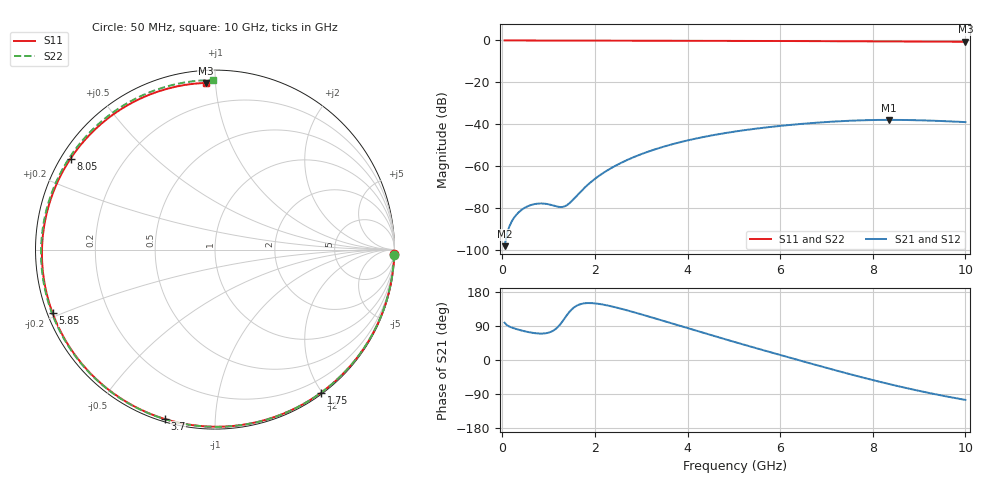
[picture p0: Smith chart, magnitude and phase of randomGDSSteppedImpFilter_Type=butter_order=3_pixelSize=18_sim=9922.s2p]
! freq	dB(S11)	phase(S11)	dB(S12)	phase(S12)
!  dB(S21)	phase(S21)	dB(S22)	phase(S22)
!S-par simulation data
#  GHz  S  DB  R 50
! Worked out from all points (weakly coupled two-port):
!   200 points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, 50 MHz to 10 GHz, reference 50 ohm
!   highest |S21| = -37.97 dB at 8.35 GHz (marker M1); lowest = -98.4 dB at 50 MHz (marker M2)
!   lowest |S11| = -0.6 dB at 10 GHz (marker M3), VSWR 27.56, Z = 3.44 + j47.2 ohm
!   |S11| at or under -10 dB: nowhere
!   |S22| runs from -0.5 to 0.0 dB; largest |S21 - S12| = 0
!   S11 on the Smith chart (normalised r, x): 50 MHz: 1, -75; 1.75 GHz: 0.02, -1.99; 3.7 GHz: 0.01, -0.75; 5.85 GHz: 0.01, -0.19; 8.05 GHz: 0.03, +0.29; 10 GHz: 0.07, +0.94
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0.05  -0.00 -1.5  -98.36 98.5  -98.36 98.5  -0.01 -1.7
0.45  -0.02 -14.0  -80.49 76.8  -80.49 76.8  -0.02 -15.8
0.65  -0.03 -20.2  -78.49 71.7  -78.49 71.7  -0.03 -22.8
0.8  -0.03 -24.9  -77.96 69.8  -77.96 69.8  -0.04 -28.0
1.3  -0.05 -40.1  -79.61 101.9  -79.61 101.9  -0.06 -44.9
1.45  -0.06 -44.5  -77.82 127.0  -77.82 127.0  -0.06 -49.9
1.75  -0.07 -53.4  -70.98 149.1  -70.98 149.1  -0.07 -59.6
2.05  -0.08 -62.0  -65.35 148.7  -65.35 148.7  -0.08 -69.1
2.45  -0.09 -73.3  -59.83 138.9  -59.83 138.9  -0.10 -81.2
2.9  -0.11 -85.6  -55.24 124.0  -55.24 124.0  -0.11 -94.3
3.4  -0.13 -98.8  -51.35 106.1  -51.35 106.1  -0.13 -108.1
3.7  -0.14 -106.5  -49.45 95.1  -49.45 95.1  -0.14 -116.1
4.4  -0.17 -123.9  -45.92 69.5  -45.92 69.5  -0.17 -133.9
5.05  -0.20 -139.6  -43.47 46.3  -43.47 46.3  -0.20 -149.6
5.85  -0.25 -158.5  -41.20 18.5  -41.20 18.5  -0.24 -168.4
6.7  -0.31 -178.7  -39.47 -10.6  -39.47 -10.6  -0.29 172.0
7.4  -0.37 164.2  -38.50 -34.0  -38.50 -34.0  -0.34 155.8
8.05  -0.43 147.8  -38.03 -54.5  -38.03 -54.5  -0.38 140.3
8.35  -0.46 139.9  -37.97 -63.4  -37.97 -63.4  -0.40 133.0
9.25  -0.55 115.2  -38.33 -87.9  -38.33 -87.9  -0.46 110.5
9.65  -0.60 103.6  -38.68 -97.5  -38.68 -97.5  -0.48 100.1
10  -0.63 93.1  -39.04 -105.3  -39.04 -105.3  -0.49 90.8
